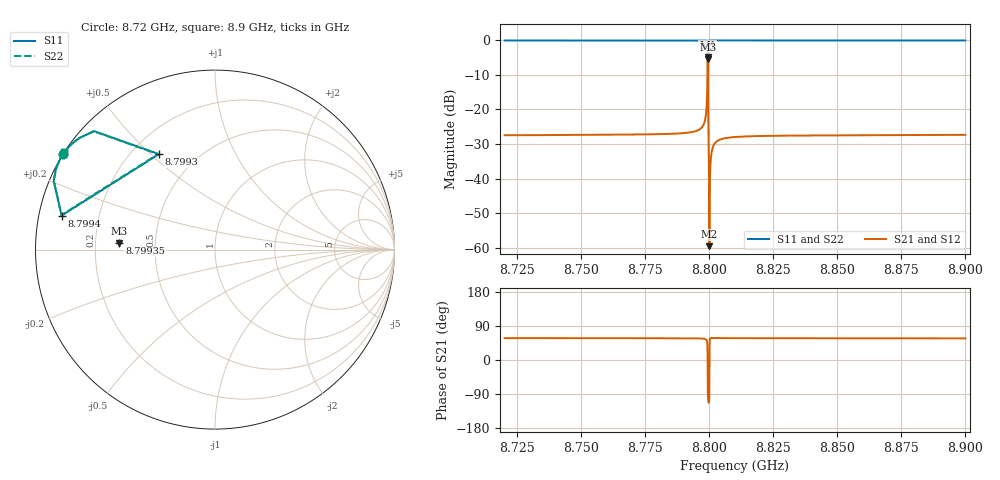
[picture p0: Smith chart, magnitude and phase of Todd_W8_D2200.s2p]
! Sonnet Data File
! From: emgraph Version : 16.52
! From Project: transmon_brgOdd
! Data is De-embedded
! Data File Written: 11/11/2017 22:28:48
!< HDATE 11/11/2017 18:22:48
!< MDATE 11/11/2017 18:22:48
!< PARAMS
!< Lj = 15.24
!< Gap = 6.0
!< Width = 10.0
!< Airgap = 6.0
!< Pwidth = 2000.0
!< Dist = 2200.0
!< END PARAMS
# GHZ S MA R 34.67000
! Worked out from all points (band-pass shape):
!   3601 points, 8.72 GHz to 8.9 GHz, reference 34.67 ohm
!   highest |S21| = -4.89 dB at 8.79935 GHz (marker M1); lowest = -59.6 dB at 8.8 GHz (marker M2)
!   |S21| within 3 dB of the highest: 8.799266 GHz to 8.799379 GHz (112.4 kHz wide, 0.00128 % of centre)
!   lowest |S11| = -5.5 dB at 8.79935 GHz (marker M3), VSWR 3.29, Z = 10.6 + j1.06 ohm
!   |S11| at or under -10 dB: nowhere
!   |S22| runs from -5.4 to 0.0 dB; largest |S21 - S12| = 0
!   S11 on the Smith chart (normalised r, x): 8.72 GHz: 0.00, +0.29; 8.7993 GHz: 0.31, +0.53; 8.79935 GHz: 0.30, +0.03; 8.7994 GHz: 0.07, +0.11; 8.9 GHz: 0.00, +0.30
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8.72  0.9991 147.7  0.04235 57.7  0.04235 57.7  0.9991 147.7
!< P1 F=8.72 Eeff=(5.13609477 -5.6761e-5) Z0=(34.6490765 -9.5162e-5) R=0.0 C=0.0
!< P2 F=8.72 Eeff=(5.13609477 -5.6761e-5) Z0=(34.6490765 -9.5162e-5) R=0.0 C=0.0
8.75  0.9991 147.6  0.04276 57.6  0.04276 57.6  0.9991 147.6
8.78  0.999 147.4  0.04386 57.4  0.04386 57.4  0.999 147.4
8.79575  0.9987 147.0  0.05047 57.0  0.05047 57.0  0.9987 147.0
8.79775  0.998 146.4  0.06057 56.2  0.06057 56.2  0.998 146.4
8.79815  0.9974 146.1  0.06668 55.8  0.06668 55.8  0.9974 146.1
8.7984  0.9968 145.7  0.07315 55.3  0.07315 55.3  0.9968 145.7
8.7987  0.995 144.8  0.08764 54.1  0.08764 54.1  0.995 144.9
8.79895  0.9899 143.2  0.1168 51.6  0.1168 51.6  0.99 143.2
8.7993  0.6169 120.4  0.5508 3.1  0.5508 3.1  0.6195 120.8
8.79935  0.5337 176.1  0.5692 -54.5  0.5692 -54.5  0.5375 175.6
8.7994  0.8756 167.5  0.3108 -88.1  0.3108 -88.1  0.8764 167.3
8.8  0.999 149.9  0.001047 -40.5  0.001047 -40.5  0.999 149.9
8.8004  0.9995 149.0  0.01577 57.5  0.01577 57.5  0.9995 149.0
8.80065  0.9995 148.7  0.02083 58.0  0.02083 58.0  0.9995 148.7
8.8008  0.9995 148.6  0.02305 58.0  0.02305 58.0  0.9995 148.6
8.80135  0.9995 148.2  0.02836 58.0  0.02836 58.0  0.9995 148.2
8.8025  0.9994 147.9  0.0335 57.9  0.0335 57.9  0.9994 147.9
8.81  0.9992 147.6  0.0399 57.6  0.0399 57.6  0.9992 147.6
8.84  0.9991 147.3  0.04208 57.3  0.04208 57.3  0.9991 147.3
8.87  0.9991 147.2  0.04257 57.2  0.04257 57.2  0.9991 147.2
8.9  0.9991 147.1  0.04289 57.1  0.04289 57.1  0.9991 147.1
